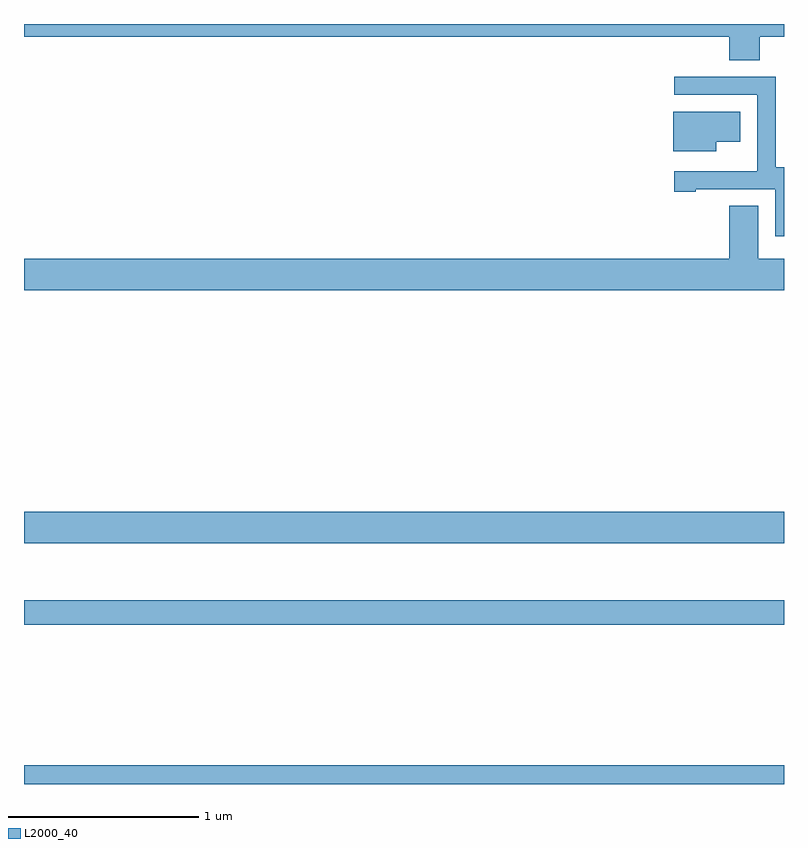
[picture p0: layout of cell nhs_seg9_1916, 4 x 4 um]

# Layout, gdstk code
import gdstk
lib = gdstk.Library(unit=1e-6, precision=1e-09)
def R(c, l, rs):  # rectangles x0, y0, x1, y1
    for r in rs: c.add(gdstk.rectangle(r[:2], r[2:], *l))
def P(c, l, *ps):  # polygons
    for p in ps: c.add(gdstk.Polygon(p, *l))
L2000_40 = (2000, 40)

nhs_seg9_1916 = lib.new_cell('nhs_seg9_1916')
R(nhs_seg9_1916, L2000_40, [(219,1180.5,223,1180.6), (219,1181.338,223,1181.467), (219,1181.768,223,1181.932)])
P(nhs_seg9_1916, L2000_40, [(222.873,1184.432),(223,1184.432),(223,1184.5),(219,1184.5),(219,1184.432),(222.713,1184.432),(222.713,1184.308),(222.873,1184.308)],
  [(223,1183.745),(222.957,1183.745),(222.957,1184.223),(222.423,1184.223),(222.423,1184.127),(222.858,1184.127),(222.858,1183.726),(222.857,1183.726),(222.857,1183.725),(222.423,1183.725),(222.423,1183.617),(222.535,1183.617),(222.535,1183.629),(222.954,1183.629),(222.954,1183.383),(223,1183.383)],
  [(222.643,1183.88),(222.769,1183.88),(222.769,1184.038),(222.416,1184.038),(222.416,1183.829),(222.643,1183.829)],
  [(223,1183.264),(222.865,1183.264),(222.865,1183.544),(222.713,1183.544),(222.713,1183.264),(219,1183.264),(219,1183.1),(223,1183.1)])

lib.write_gds('nhs_seg9_1916.gds')
